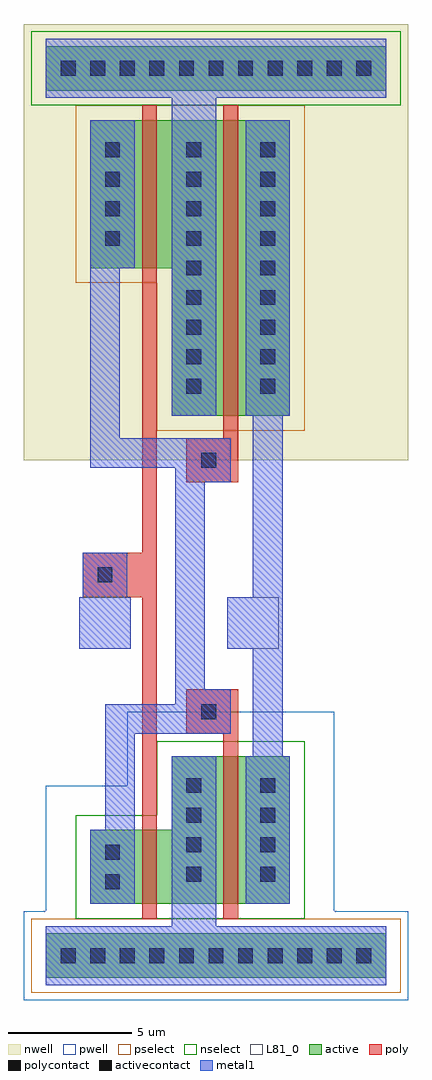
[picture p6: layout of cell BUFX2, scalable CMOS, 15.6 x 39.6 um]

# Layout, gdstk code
import gdstk
lib = gdstk.Library(unit=1e-6, precision=1e-09)
def R(c, l, rs):  # rectangles x0, y0, x1, y1
    for r in rs: c.add(gdstk.rectangle(r[:2], r[2:], *l))
def A(c, l, x, y, w, h, nx, ny, dx, dy):  # array of equal rectangles
    R(c, l, [(x+i*dx, y+j*dy, x+i*dx+w, y+j*dy+h) for i in range(nx) for j in range(ny)])
pwell = (41, 0)
nwell = (42, 0)
active = (43, 0)
pselect = (44, 0)
nselect = (45, 0)
poly = (46, 0)
polycontact = (47, 0)
activecontact = (48, 0)
metal1 = (49, 0)
L81_0 = (81, 0)

bufx2 = lib.new_cell('BUFX2')
R(bufx2, pwell, [(-1.8,-1.8,13.8,1.8), (-0.9,1.8,10.8,6.9), (2.4,6.9,10.8,9.9)])
R(bufx2, nwell, [(-1.8,20.1,13.8,37.8)])
R(bufx2, active, [(-0.9,-0.9,12.9,0.9), (0.9,2.1,9,5.1), (4.2,5.1,9,8.1), (4.2,21.9,9,27.9), (0.9,27.9,9,33.9), (-0.9,35.1,12.9,36.9)])
R(bufx2, pselect, [(-1.5,-1.5,13.5,1.5), (3.6,21.3,9.6,27.3), (0.3,27.3,9.6,34.5)])
R(bufx2, nselect, [(0.3,1.5,9.6,5.7), (3.6,5.7,9.6,8.7), (-1.5,34.5,13.5,37.5)])
R(bufx2, poly, [(3,1.5,3.6,14.55), (6.3,1.5,6.9,9), (4.8,9,6.9,10.8), (0.6,14.55,3.6,16.35), (3,16.35,3.6,34.5), (4.8,19.2,6.9,21), (6.3,21,6.9,34.5)])
R(bufx2, polycontact, [(5.4,9.6,6,10.2), (1.2,15.15,1.8,15.75), (5.4,19.8,6,20.4)])
A(bufx2, activecontact, -0.3, -0.3, 0.6, 0.6, 11, 2, 1.2, 36)
A(bufx2, activecontact, 4.8, 3, 0.6, 0.6, 1, 4, 0, 1.2)
A(bufx2, activecontact, 7.8, 3, 0.6, 0.6, 1, 4, 0, 1.2)
A(bufx2, activecontact, 4.8, 22.8, 0.6, 0.6, 1, 9, 0, 1.2)
A(bufx2, activecontact, 7.8, 22.8, 0.6, 0.6, 1, 9, 0, 1.2)
A(bufx2, activecontact, 1.5, 28.8, 0.6, 0.6, 1, 4, 0, 1.2)
R(bufx2, activecontact, [(1.5,2.7,2.1,3.3), (1.5,3.9,2.1,4.5)])
R(bufx2, metal1, [(-0.9,-1.2,12.9,1.2), (4.2,1.2,6,8.1), (0.9,2.1,2.7,5.1), (7.2,2.1,9,8.1), (1.5,5.1,2.7,9), (7.5,8.1,8.7,12.45), (1.5,9,6.6,10.2), (4.35,10.2,6.6,10.8), (4.35,10.8,5.55,19.2), (0.45,12.45,2.55,14.55), (6.45,12.45,8.7,14.55), (0.6,14.55,2.4,16.35), (7.5,14.55,8.7,21.9), (4.35,19.2,6.6,19.8), (0.9,19.8,6.6,21), (0.9,21,2.1,27.9), (4.2,21.9,6,34.8), (7.2,21.9,9,33.9), (0.9,27.9,2.7,33.9), (-0.9,34.8,12.9,37.2)])
R(bufx2, L81_0, [(0.45,12.45,2.55,14.55), (6.45,12.45,8.55,14.55)])

lib.write_gds('BUFX2.gds')
